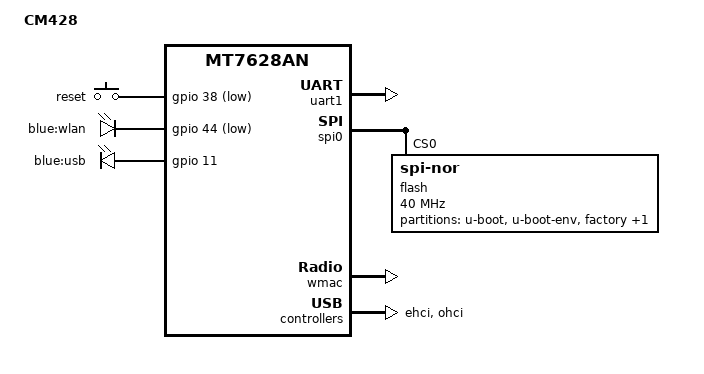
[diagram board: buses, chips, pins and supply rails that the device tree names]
// SPDX-License-Identifier: GPL-2.0-or-later OR MIT
/dts-v1/;

#include "mt7628an.dtsi"

#include <dt-bindings/gpio/gpio.h>
#include <dt-bindings/input/input.h>

/ {
	compatible = "xwrt,xf-949", "mediatek,mt7628an-soc";
	model = "CM428";

	chosen {
		bootargs = "console=ttyS0,57600 console=ttyS1,57600";
	};

	keys {
		compatible = "gpio-keys";

		reset {
			label = "reset";
			gpios = <&gpio 38 GPIO_ACTIVE_LOW>;
			linux,code = <KEY_RESTART>;
		};
	};

	leds {
		compatible = "gpio-leds";

		wlan {
			label = "blue:wlan";
			gpios = <&gpio 44 GPIO_ACTIVE_LOW>;
		};

		usb {
			label = "blue:usb";
			gpios = <&gpio 11 GPIO_ACTIVE_HIGH>;
			trigger-sources = <&ohci_port1>, <&ehci_port1>;
			linux,default-trigger = "usbport";
		};
	};
};

&state_default {
	gpio {
		groups = "gpio", "wdt", "wled_an";
		function = "gpio";
	};
};

&uart1 {
	status = "okay";
};

&spi0 {
	status = "okay";

	flash@0 {
		compatible = "jedec,spi-nor";
		reg = <0>;
		spi-max-frequency = <40000000>;
		broken-flash-reset;
		spi-3byte-addressing;

		partitions {
			compatible = "fixed-partitions";
			#address-cells = <1>;
			#size-cells = <1>;

			partition@0 {
				label = "u-boot";
				reg = <0x0 0x30000>;
				read-only;
			};

			partition@30000 {
				label = "u-boot-env";
				reg = <0x30000 0x10000>;
				read-only;
			};

			factory: partition@40000 {
				label = "factory";
				reg = <0x40000 0x10000>;
			};

			partition@50000 {
				compatible = "denx,uimage";
				label = "firmware";
				reg = <0x50000 0xfb0000>;
			};
		};
	};
};

&wmac {
	status = "okay";
	mtd-mac-address = <&factory 0x28>;
	nvmem-cells = <&macaddr_factory_28>;
	nvmem-cell-names = "mac-address";
};

&ehci {
	status = "okay";
};

&ohci {
	status = "okay";
};

&ethernet {
	mediatek,portmap = "llllw";
	mtd-mac-address = <&factory 0x4>;
	nvmem-cells = <&macaddr_factory_4>;
	nvmem-cell-names = "mac-address";
};

&factory {
	compatible = "nvmem-cells";
	#address-cells = <1>;
	#size-cells = <1>;

	macaddr_factory_4: macaddr@4 {
		reg = <0x4 0x6>;
	};

	macaddr_factory_28: macaddr@28 {
		reg = <0x28 0x6>;
	};
};
